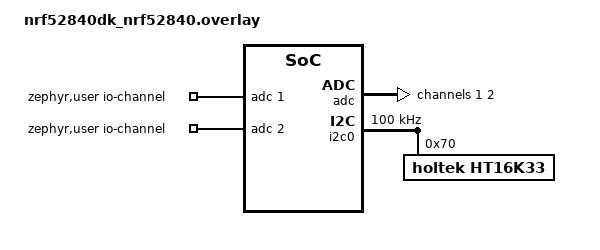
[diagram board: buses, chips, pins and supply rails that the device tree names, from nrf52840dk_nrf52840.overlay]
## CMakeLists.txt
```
cmake_minimum_required(VERSION 3.20.0)
find_package(Zephyr REQUIRED HINTS $ENV{ZEPHYR_BASE})

project(joystick_example)

target_sources(app PRIVATE src/main.c src/led.c)
```

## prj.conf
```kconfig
CONFIG_ADC=y
# CONFIG_ADC_ASYNC=y

CONFIG_LOG=y
CONFIG_I2C=y
CONFIG_LED=y
CONFIG_KSCAN=y
CONFIG_KSCAN_INIT_PRIORITY=95
CONFIG_HT16K33_KEYSCAN=y
```

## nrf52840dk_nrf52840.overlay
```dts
// To get started, press Ctrl+Space to bring up the completion menu and view the available nodes.

// You can also use the buttons in the sidebar to perform actions on nodes.
// Actions currently available include:

// * Enabling / disabling the node
// * Adding the bus to a bus
// * Removing the node
// * Connecting ADC channels

// For more help, browse the DeviceTree documentation at https://docs.zephyrproject.org/latest/guides/dts/index.html
// You can also visit the nRF DeviceTree extension documentation at https://nrfconnect.github.io/vscode-nrf-connect/devicetree/nrfdevicetree.html

/ {
	zephyr,user {
		io-channels = <&adc 1>, <&adc 2>;
	};
};

&adc {
	#address-cells = <1>;
	#size-cells = <0>;

	channel@1 {
		reg = <1>;
		zephyr,gain = "ADC_GAIN_1";
		zephyr,reference = "ADC_REF_INTERNAL";
		zephyr,acquisition-time = <ADC_ACQ_TIME_DEFAULT>;
		zephyr,input-positive = <NRF_SAADC_AIN1>; /* P0.03 */
		zephyr,resolution = <10>;
		// zephyr,differential;
	};

	channel@2 {
		reg = <2>;
		zephyr,gain = "ADC_GAIN_1";
		zephyr,reference = "ADC_REF_INTERNAL";
		zephyr,acquisition-time = <ADC_ACQ_TIME_DEFAULT>;
		zephyr,input-positive = <NRF_SAADC_AIN2>; /* P0.04 */
		zephyr,resolution = <10>;
		// zephyr,differential;
	};
};


&i2c0 {
	clock-frequency = <I2C_BITRATE_STANDARD>;

	ht16k33@70 {
		compatible = "holtek,ht16k33";
		reg = <0x70>;
                /* Uncomment to use IRQ instead of polling: */
		/* irq-gpios = <&gpio1 8 (GPIO_PULL_UP | GPIO_ACTIVE_LOW)>; */

		keyscan {
			compatible = "holtek,ht16k33-keyscan";
		};
	};
};
```

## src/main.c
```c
/*
 * Copyright (c) 2020 Libre Solar Technologies GmbH
 *
 * SPDX-License-Identifier: Apache-2.0
 */

#include <inttypes.h>
#include <stddef.h>
#include <stdint.h>

#include <zephyr/device.h>
#include <zephyr/devicetree.h>
#include <zephyr/drivers/adc.h>
#include <zephyr/kernel.h>
#include <zephyr/sys/printk.h>
#include <zephyr/sys/util.h>

#include "led.h"

#if !DT_NODE_EXISTS(DT_PATH(zephyr_user)) || \
	!DT_NODE_HAS_PROP(DT_PATH(zephyr_user), io_channels)
#error "No suitable devicetree overlay specified"
#endif

#define DT_SPEC_AND_COMMA(node_id, prop, idx) \
	ADC_DT_SPEC_GET_BY_IDX(node_id, idx),

/* Data of ADC io-channels specified in devicetree. */
static const struct adc_dt_spec adc_channels[] = {
	DT_FOREACH_PROP_ELEM(DT_PATH(zephyr_user), io_channels,
			     DT_SPEC_AND_COMMA)
};

// add for joystick
int32_t preX = 0 , perY = 0;
static const int ADC_MAX = 1023;
// static const int ADC_MIN = 0;
static const int AXIS_DEVIATION = ADC_MAX / 2;
int32_t nowX = 0;
int32_t nowY = 0;

bool isChange(void)
{
	if((nowX < (preX - 50)) || nowX > (preX+50)){
		preX = nowX;
		return true;
	}

	if((nowY < (perY - 50)) || nowY > (perY+50)){
		perY = nowY;
		return true;
	}
	return false;
}
//endif
int main(void)
{
	int err;
	uint32_t count = 0;
	uint16_t buf;
	struct adc_sequence sequence = {
		.buffer = &buf,
		/* buffer size in bytes, not number of samples */
		.buffer_size = sizeof(buf),
	};

	/* Configure channels individually prior to sampling. */
	for (size_t i = 0U; i < ARRAY_SIZE(adc_channels); i++) {
		if (!adc_is_ready_dt(&adc_channels[i])) {
			printk("ADC controller device %s not ready\n", adc_channels[i].dev->name);
			return 0;
		}

		err = adc_channel_setup_dt(&adc_channels[i]);
		if (err < 0) {
			printk("Could not setup channel #%d (%d)\n", i, err);
			return 0;
		}
	}

	led_init();

	while (1) {
		printk("ADC reading[%u]: ", count++);

		(void)adc_sequence_init_dt(&adc_channels[0], &sequence);
		err = adc_read(adc_channels[0].dev, &sequence);
		if (err < 0) {
			printk("Could not read (%d)\n", err);
			continue;
		}

		nowX = (int32_t)buf;

		(void)adc_sequence_init_dt(&adc_channels[1], &sequence);
		err = adc_read(adc_channels[1].dev, &sequence);
		if (err < 0) {
			printk("Could not read (%d)\n", err);
			continue;
		}

		nowY = (int32_t)buf;

        printk("Joy X: %" PRIu32 ", ", nowX);
		printk("Joy Y: %" PRIu32 ", ", nowY);

		if (nowX >= 65500 || nowY >= 65500){
			printk("Out of Range\n");
			k_sleep(K_MSEC(100));
			continue;
		}

		bool checkFlag = isChange();
		if(!checkFlag){
            printk("No Change\n");
			k_sleep(K_MSEC(100));
			continue;
		} else {
			led_off_all();
		}

		if (nowX == ADC_MAX && nowY == ADC_MAX){
			led_on_center();
			printk("Center");
		} else if (nowX < AXIS_DEVIATION && nowY == ADC_MAX){
			led_on_left();
			printk("Left");
		} else if (nowX > AXIS_DEVIATION && nowY == ADC_MAX){
			led_on_right();
			printk("Right");
		} else if (nowY > AXIS_DEVIATION && nowX == ADC_MAX){
			led_on_up();
			printk("Up");
		} else if (nowY < AXIS_DEVIATION && nowX == ADC_MAX){
			led_on_down();
			printk("Down");
		}

                printk("\n");

		k_sleep(K_MSEC(100));
	}
	return 0;
}
```

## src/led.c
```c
#include "led.h"

int led_init(void)
{
    if(!device_is_ready(led)){
        printk("LED device %s is not ready\n", led->name);
    }

    return 0;
}

void led_off_all(void)
{
    for(int i = 0; i< MAX_LED_NUM; i++){
        led_off(led, i);
    }
}

// * * * * * * * * * * * * * * * *  0 ~ 15
// * * * * * * * * * * * * * * * * 16 ~ 31
// * * * * * * x x x x * * * * * * 32 ~ 47 (38 ~ 41)
// * * * * * * x x x x * * * * * * 48 ~ 63 (54 ~ 57)
// * * * * * * x x x x * * * * * * 64 ~ 79 (70 ~ 73)
// * * * * * * x x x x * * * * * * 80 ~ 95 (86 ~ 89)
// * * * * * * * * * * * * * * * * 96 ~ 111
// * * * * * * * * * * * * * * * * 112 ~ 127

void led_on_center(void)
{
    // led_off_all();
    led_set_brightness(led, 0, 0);

    for(int i = 38; i < 95; i+=16){
        led_on(led, i);
        led_on(led, i+1);
        led_on(led, i+2);
        led_on(led, i+3);
    }

    k_sleep(K_MSEC(100));

    // led_on(led, 38); led_on(led, 39);led_on(led, 40); led_on(led, 41);
    // led_on(led, 54); led_on(led, 55); led_on(led, 56); led_on(led, 57);
    // led_on(led, 70); led_on(led, 71); led_on(led, 72); led_on(led, 73);
    // led_on(led, 86); led_on(led, 87); led_on(led, 88); led_on(led, 89);
}

// * * * * * * * * * * * * * * * *  0 ~ 15
// * * * * * * * * * * x * * * * * 16 ~ 31 (26)
// * * * * * * x x x x x x * * * * 32 ~ 47 (38 ~ 43)
// * * * * * * x x x x x x x x * * 48 ~ 63 (54 ~ 61)
// * * * * * * x x x x x x x x * * 64 ~ 79 (70 ~ 76)
// * * * * * * x x x x x x * * * * 80 ~ 95 (86 ~ 91)
// * * * * * * * * * * x * * * * * 96 ~ 111(106)
// * * * * * * * * * * * * * * * * 112 ~ 127

void led_on_right(void)
{
    // led_off_all();

    led_on(led, 26);
    led_on(led, 38); led_on(led, 39); led_on(led, 40); led_on(led, 41); led_on(led, 42); led_on(led, 43);
    led_on(led, 54); led_on(led, 55); led_on(led, 56); led_on(led, 57); led_on(led, 58); led_on(led, 59); led_on(led, 60); led_on(led, 61);
    led_on(led, 70); led_on(led, 71); led_on(led, 72); led_on(led, 73); led_on(led, 74); led_on(led, 75); led_on(led, 76); led_on(led, 77);
    led_on(led, 86); led_on(led, 87); led_on(led, 88); led_on(led, 89); led_on(led, 90); led_on(led, 91);
    led_on(led, 106);

    k_sleep(K_MSEC(100));
}


// * * * * * * * * * * * * * * * *  0 ~ 15
// * * * * * x * * * * * * * * * * 16 ~ 31 (21)
// * * * * x x x x x x * * * * * * 32 ~ 47 (36 ~ 41)
// * * x x x x x x x x * * * * * * 48 ~ 63 (50 ~ 57)
// * * x x x x x x x x * * * * * * 64 ~ 79 (66 ~ 73)
// * * * * x x x x x x * * * * * * 80 ~ 95 (84 ~ 89)
// * * * * * x * * * * * * * * * * 96 ~ 111 (101)
// * * * * * * * * * * * * * * * * 112 ~ 127

void led_on_left(void)
{
    // led_off_all();

    led_on(led, 21);
    led_on(led, 36); led_on(led, 37); led_on(led, 38); led_on(led, 39); led_on(led, 40); led_on(led, 41);
    led_on(led, 50); led_on(led, 51); led_on(led, 52); led_on(led, 53); led_on(led, 54); led_on(led, 55); led_on(led, 56); led_on(led, 57);
    led_on(led, 66); led_on(led, 67); led_on(led, 68); led_on(led, 69); led_on(led, 70); led_on(led, 71); led_on(led, 72); led_on(led, 73);
    led_on(led, 84); led_on(led, 85); led_on(led, 86); led_on(led, 87); led_on(led, 88); led_on(led, 89);
    led_on(led, 101);

    k_sleep(K_MSEC(100));
}


// * * * * * * * * * * * * * * * *  0 ~ 15
// * * * * * * * x x * * * * * * * 16 ~ 31 (23 ~ 24)
// * * * * * x x x x x x * * * * * 32 ~ 47 (37 ~ 42)
// * * * * x x x x x x x x * * * * 48 ~ 63 (52 ~ 59)
// * * * * * * x x x x * * * * * * 64 ~ 79 (70 ~ 73)
// * * * * * * x x x x * * * * * * 80 ~ 95 (86 ~ 89)
// * * * * * * * * * * * * * * * * 96 ~ 111
// * * * * * * * * * * * * * * * * 112 ~ 127

void led_on_up(void)
{
    // led_off_all();

    led_on(led, 23); led_on(led, 24);
    led_on(led, 37); led_on(led, 38); led_on(led, 39); led_on(led, 40); led_on(led, 41); led_on(led, 42);
    led_on(led, 52); led_on(led, 53); led_on(led, 54); led_on(led, 55); led_on(led, 56); led_on(led, 57); led_on(led, 58); led_on(led, 59);
    led_on(led, 70); led_on(led, 71); led_on(led, 72); led_on(led, 73);
    led_on(led, 86); led_on(led, 87); led_on(led, 88); led_on(led, 89);

    k_sleep(K_MSEC(100));
}

// * * * * * * * * * * * * * * * *  0 ~ 15
// * * * * * * * * * * * * * * * * 16 ~ 31
// * * * * * * x x x x * * * * * * 32 ~ 47 (38 ~ 41)
// * * * * * * x x x x * * * * * * 48 ~ 63 (54 ~ 57)
// * * * * x x x x x x x x * * * * 64 ~ 79 (68 ~ 75)
// * * * * * x x x x x x * * * * * 80 ~ 95 (85 ~ 90)
// * * * * * * * x x * * * * * * * 96 ~ 111(103 ~ 104)
// * * * * * * * * * * * * * * * * 112 ~ 127

void led_on_down(void)
{
    // led_off_all();

    led_on(led, 38); led_on(led, 39); led_on(led, 40); led_on(led, 41);
    led_on(led, 54); led_on(led, 55); led_on(led, 56); led_on(led, 57);
    led_on(led, 68); led_on(led, 69); led_on(led, 70); led_on(led, 71); led_on(led, 72); led_on(led, 73); led_on(led, 74); led_on(led, 75);
    led_on(led, 85); led_on(led, 86); led_on(led, 87); led_on(led, 88); led_on(led, 89); led_on(led, 90);
    led_on(led, 103); led_on(led, 104);

    k_sleep(K_MSEC(100));

}
```

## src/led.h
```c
#include <zephyr/drivers/led.h>
#include <zephyr/drivers/kscan.h>
#include <zephyr/devicetree.h>
#include <zephyr/kernel.h>

#define LED_NODE DT_COMPAT_GET_ANY_STATUS_OKAY(holtek_ht16k33)
#define KEY_NODE DT_CHILD(LED_NODE, keyscan)

#define MAX_LED_NUM 128

static const struct device *const led = DEVICE_DT_GET(LED_NODE);

int led_init(void);

void led_off_all(void);
void led_on_center(void);
void led_on_right(void);
void led_on_left(void);
void led_on_up(void);
void led_on_down(void);
```
